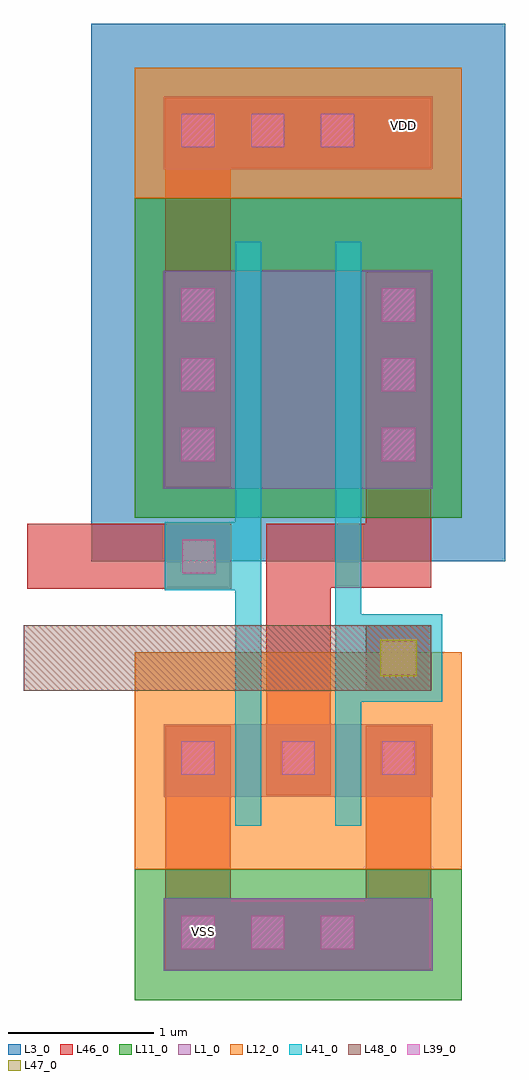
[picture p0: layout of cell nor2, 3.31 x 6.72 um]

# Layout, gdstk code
import gdstk
lib = gdstk.Library(unit=1e-6, precision=1e-09)
def R(c, l, rs):  # rectangles x0, y0, x1, y1
    for r in rs: c.add(gdstk.rectangle(r[:2], r[2:], *l))
def A(c, l, x, y, w, h, nx, ny, dx, dy):  # array of equal rectangles
    R(c, l, [(x+i*dx, y+j*dy, x+i*dx+w, y+j*dy+h) for i in range(nx) for j in range(ny)])
def P(c, l, *ps):  # polygons
    for p in ps: c.add(gdstk.Polygon(p, *l))
L1_0 = (1, 0)
L3_0 = (3, 0)
L11_0 = (11, 0)
L12_0 = (12, 0)
L39_0 = (39, 0)
L41_0 = (41, 0)
L46_0 = (46, 0)
L47_0 = (47, 0)
L48_0 = (48, 0)

nor2 = lib.new_cell('nor2')
R(nor2, L1_0, [(0.51,1.105,2.36,1.605), (0.51,2.305,2.36,2.805), (0.51,4.425,2.36,5.925), (0.51,6.626,2.36,7.126)])
R(nor2, L3_0, [(0.01,3.925,2.86,7.625)])
R(nor2, L11_0, [(0.31,0.905,2.56,1.805), (0.31,4.225,2.56,6.425)])
R(nor2, L12_0, [(0.31,1.805,2.56,3.3), (0.31,6.425,2.56,7.325)])
A(nor2, L39_0, 0.63, 1.255, 0.23, 0.23, 3, 2, 0.48, 5.521)
A(nor2, L39_0, 0.63, 2.455, 0.23, 0.23, 3, 1, 0.69, 0)
A(nor2, L39_0, 0.63, 4.615, 0.23, 0.23, 1, 3, 0, 0.48)
A(nor2, L39_0, 2.01, 4.615, 0.23, 0.23, 1, 3, 0, 0.48)
R(nor2, L39_0, [(2.01,3.145,2.24,3.375), (0.635,3.845,0.865,4.075)])
R(nor2, L41_0, [(1.825,2.96,2.425,3.56)])
P(nor2, L41_0, [(1.69,2.105),(1.69,6.125),(1.87,6.125),(1.87,3.505),(2.425,3.505),(2.425,3.035),(1.87,3.035),(1.87,2.105)],
  [(1,2.105),(1,3.725),(0.515,3.725),(0.515,4.195),(1,4.195),(1,6.125),(1.18,6.125),(1.18,2.105)])
R(nor2, L46_0, [(0.52,1.115,2.35,1.595), (0.52,1.115,0.97,2.795), (1.9,1.115,2.35,2.795), (1.215,2.315,1.66,4.185), (1.9,3.035,2.35,3.485), (-0.43,3.735,0.975,4.185), (1.215,3.745,2.35,4.185), (1.9,3.87,2.35,5.915), (0.52,4.435,0.97,5.915), (0.52,5.56,0.97,7.116), (0.52,6.636,2.35,7.116)])
R(nor2, L47_0, [(2,3.135,2.25,3.385)])
R(nor2, L48_0, [(-0.455,3.035,2.35,3.485)])
nor2.add(gdstk.Label('VDD', (2.16,6.925), layer=101, texttype=0))
nor2.add(gdstk.Label('VSS', (0.785,1.375), layer=101, texttype=0))

lib.write_gds('nor2.gds')
